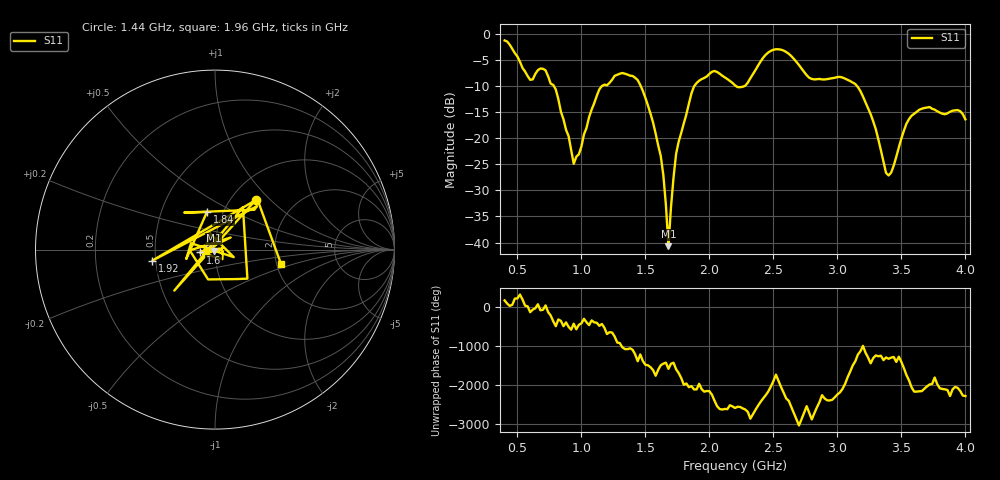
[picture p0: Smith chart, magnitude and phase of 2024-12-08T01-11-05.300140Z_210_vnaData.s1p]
!Created with skrf (http://scikit-rf.org).
# Hz S RI R 50.0
!freq ReS11 ImS11
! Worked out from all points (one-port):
!   181 points, 400 MHz to 4 GHz, reference 50 ohm
!   lowest |S11| = -40.7 dB at 1.68 GHz (marker M1), VSWR 1.02, Z = 49.2 - j0.522 ohm
!   |S11| at or under -10 dB: 783.7 MHz to 1.163 GHz (379.5 MHz wide, 39 % of centre); 1.463 GHz to 1.884 GHz (420.8 MHz wide, 25.1 % of centre); 3.152 GHz to end of sweep (the widest 3 of 4)
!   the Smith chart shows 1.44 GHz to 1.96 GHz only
!   S11 on the Smith chart (normalised r, x): 1.44 GHz: 1.29, +0.82; 1.6 GHz: 0.85, -0.03; 1.84 GHz: 0.84, +0.37; 1.92 GHz: 0.48, -0.07; 1.96 GHz: 2.11, -0.39
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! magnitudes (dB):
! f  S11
! 400 MHz  -1.3
! 600 MHz  -8.9
! 720 MHz  -7.0
! 860 MHz  -16.4
! 940 MHz  -24.9
! 1.14 GHz  -10.7
! 1.3 GHz  -7.7
! 1.44 GHz  -8.9
! 1.6 GHz  -21.4
! 1.64 GHz  -27.1
! 1.68 GHz  -40.7
! 1.72 GHz  -27.5
! 1.76 GHz  -20.7
! 1.84 GHz  -13.4
! 1.92 GHz  -9.0
! 1.96 GHz  -8.5
! 2.04 GHz  -7.2
! 2.2 GHz  -9.9
! 2.28 GHz  -10.0
! 2.48 GHz  -3.3
! 2.66 GHz  -4.8
! 2.8 GHz  -8.7
! 3.1 GHz  -9.1
! 3.26 GHz  -15.5
! 3.4 GHz  -27.2
! 3.56 GHz  -16.3
! 3.72 GHz  -14.1
! 4 GHz  -16.4
